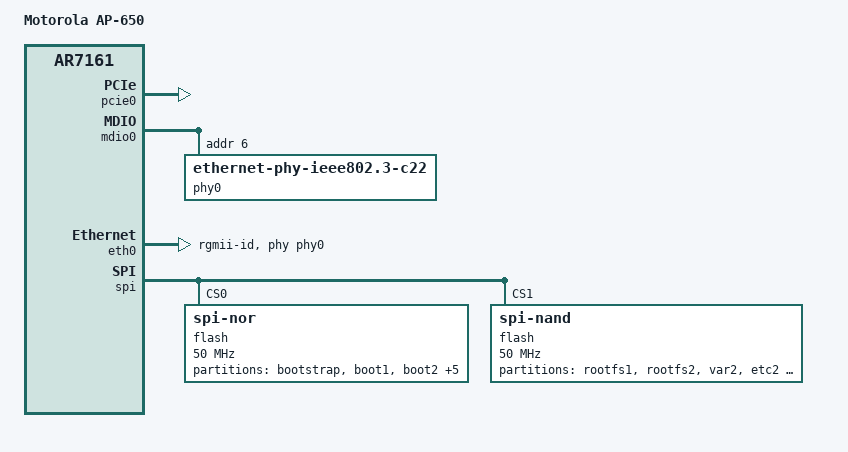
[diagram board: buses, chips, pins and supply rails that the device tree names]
// SPDX-License-Identifier: GPL-2.0-or-later OR MIT

#include "ar7100.dtsi"

#include <dt-bindings/gpio/gpio.h>
#include <dt-bindings/input/input.h>

/ {
	compatible = "motorola,ap650", "qca,ar7161";
	model = "Motorola AP-650";

	aliases {
		label-mac-device = &eth0;
	};
};

&pcie0 {
	status = "okay";
};

&mdio0 {
	status = "okay";

	phy0: ethernet-phy@6 {
		/*
		 * When the compatible-is missing, PHY autodetection
		 * is performed, but the PHY-ID reads all 0xff.
		 *
		 * Linux does not create the device in this case,
		 * and the reset is never even de-asserted.
		 */
		compatible = "ethernet-phy-ieee802.3-c22";
		reg = <6>;

		resets = <&rst 8>;
		reset-names = "phy";
		reset-assert-us = <10000>;
		reset-deassert-us = <10000>;
	};
};

&eth0 {
	status = "okay";

	phy-mode = "rgmii-id";
	phy-handle = <&phy0>;
};

&spi {
	status = "okay";

	flash@0 {
		compatible = "jedec,spi-nor";
		reg = <0>;
		spi-max-frequency = <50000000>;

		partitions {
			compatible = "fixed-partitions";
			#address-cells = <1>;
			#size-cells = <1>;

			partition@0 {
				label = "bootstrap";
				reg = <0x0 0x10000>;
				read-only;
			};

			partition@10000 {
				label = "boot1";
				reg = <0x10000 0x60000>;
				read-only;
			};

			partition@70000 {
				label = "boot2";
				reg = <0x70000 0x60000>;
				read-only;
			};

			partition@d0000 {
				label = "config";
				reg = <0xd0000 0x10000>;
				read-only;
			};

			partition@e0000 {
				label = "linux1";
				reg = <0xe0000 0x350000>;
				read-only;
			};

			partition@430000 {
				label = "linux2";
				reg = <0x430000 0x350000>;
				read-only;
			};

			partition@780000 {
				label = "panic";
				reg = <0x780000 0x70000>;
				read-only;
			};

			partition@7f0000 {
				label = "bootconfig";
				reg = <0x7f0000 0x10000>;
				read-only;
			};
		};
	};

	flash@1 {
		compatible = "spi-nand";
		reg = <1>;
		spi-max-frequency = <50000000>;

		partitions {
			compatible = "fixed-partitions";
			#address-cells = <1>;
			#size-cells = <1>;

			partition@0 {
				label = "rootfs1";
				reg = <0x0 0x2980000>;
				read-only;
			};

			partition@2980000 {
				label = "rootfs2";
				reg = <0x2980000 0x2980000>;
				read-only;
			};

			partition@5300000 {
				label = "var2";
				reg = <0x5300000 0x700000>;
				read-only;
			};

			partition@5a00000 {
				label = "etc2";
				reg = <0x5a00000 0xa00000>;
				read-only;
			};

			partition@6400000 {
				label = "rootfs_data";
				reg = <0x6400000 0x1c00000>;
				read-only;
			};
		};
	};

};
